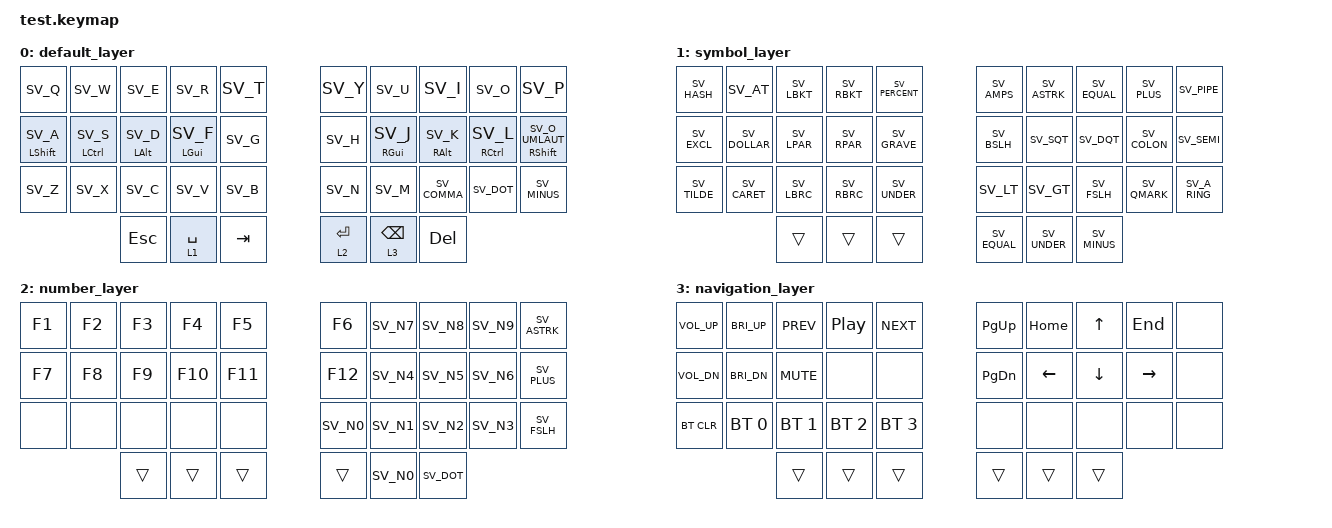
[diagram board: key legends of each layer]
/*
 * Skeletyl Keymap - Swedish Developer Edition
 * Optimized for Python, terminal work, and macOS/Linux
 */

#include <behaviors.dtsi>
#include <dt-bindings/zmk/keys.h>
#include <dt-bindings/zmk/bt.h>
#include "../../../config/keys_sv.h"

/ {
    behaviors {
        // Home row mods - optimized timing for typing comfort
        hm: homerow_mods {
            compatible = "zmk,behavior-hold-tap";
            #binding-cells = <2>;
            tapping-term-ms = <200>;
            quick-tap-ms = <150>;
            require-prior-idle-ms = <125>;
            flavor = "balanced";
            bindings = <&kp>, <&kp>;
        };
    };

    keymap {
        compatible = "zmk,keymap";

        // Layer 0: Base QWERTY with Home Row Mods
        default_layer {
            bindings = <
                &kp SV_Q         &kp SV_W        &kp SV_E        &kp SV_R        &kp SV_T            &kp SV_Y        &kp SV_U        &kp SV_I        &kp SV_O        &kp SV_P
                &hm LSHFT SV_A   &hm LCTRL SV_S  &hm LALT SV_D   &hm LGUI SV_F   &kp SV_G            &kp SV_H        &hm RGUI SV_J   &hm RALT SV_K   &hm RCTRL SV_L  &hm RSHFT SV_O_UMLAUT
                &kp SV_Z         &kp SV_X        &kp SV_C        &kp SV_V        &kp SV_B            &kp SV_N        &kp SV_M        &kp SV_COMMA    &kp SV_DOT      &kp SV_MINUS
                                                 &kp ESC         &lt 1 SPACE     &kp TAB             &lt 2 RET       &lt 3 BSPC      &kp DEL
            >;
        };

        // Layer 1: Symbol Layer (Programming Focus)
        symbol_layer {
            bindings = <
                &kp SV_HASH      &kp SV_AT       &kp SV_LBKT     &kp SV_RBKT     &kp SV_PERCENT      &kp SV_AMPS     &kp SV_ASTRK    &kp SV_EQUAL    &kp SV_PLUS     &kp SV_PIPE
                &kp SV_EXCL      &kp SV_DOLLAR   &kp SV_LPAR     &kp SV_RPAR     &kp SV_GRAVE        &kp SV_BSLH     &kp SV_SQT      &kp SV_DQT      &kp SV_COLON    &kp SV_SEMI
                &kp SV_TILDE     &kp SV_CARET    &kp SV_LBRC     &kp SV_RBRC     &kp SV_UNDER        &kp SV_LT       &kp SV_GT       &kp SV_FSLH     &kp SV_QMARK    &kp SV_A_RING
                                                 &trans          &trans          &trans              &kp SV_EQUAL    &kp SV_UNDER    &kp SV_MINUS
            >;
        };

        // Layer 2: Number + Function Layer
        number_layer {
            bindings = <
                &kp F1           &kp F2          &kp F3          &kp F4          &kp F5              &kp F6          &kp SV_N7       &kp SV_N8       &kp SV_N9       &kp SV_ASTRK
                &kp F7           &kp F8          &kp F9          &kp F10         &kp F11             &kp F12         &kp SV_N4       &kp SV_N5       &kp SV_N6       &kp SV_PLUS
                &none            &none           &none           &none           &none               &kp SV_N0       &kp SV_N1       &kp SV_N2       &kp SV_N3       &kp SV_FSLH
                                                 &trans          &trans          &trans              &trans          &kp SV_N0       &kp SV_DOT
            >;
        };

        // Layer 3: Navigation + System Layer
        navigation_layer {
            bindings = <
                &kp C_VOL_UP     &kp C_BRI_UP    &kp C_PREV      &kp C_PP        &kp C_NEXT          &kp PG_UP       &kp HOME        &kp UP          &kp END         &none
                &kp C_VOL_DN     &kp C_BRI_DN    &kp C_MUTE      &none           &none               &kp PG_DN       &kp LEFT        &kp DOWN        &kp RIGHT       &none
                &bt BT_CLR       &bt BT_SEL 0    &bt BT_SEL 1    &bt BT_SEL 2    &bt BT_SEL 3        &none           &none           &none           &none           &none
                                                 &trans          &trans          &trans              &trans          &trans          &trans
            >;
        };
    };
};





Skeletyl Swedish Developer Keymap
Overview
Creating a 36-key keymap for boards/shields/skeletyl/skeletyl.keymap tailored for Python and terminal work, using Swedish key definitions from config/keys_sv.h.

Layer Structure
Hold Left Thumb 1
Hold Right Thumb 1
Hold Right Thumb 2
Base Layer: QWERTY + Home Row Mods
Symbol Layer: Programming Symbols
Number Layer: Numpad + Function Keys
Navigation Layer: Vim + System
Layer Breakdown
Layer 0: Base (QWERTY with Home Row Mods)
Top row: Q W E R T | Y U I O P
Home row: A(Shift) S(Ctrl) D(Alt) F(GUI) G | H J(GUI) K(Alt) L(Ctrl) Ö(Shift)
Bottom row: Z X C V B | N M , . -
Thumbs: ESC, SPACE(tap)/SYM(hold), TAB | ENTER(tap)/NUM(hold), BSPC(tap)/NAV(hold), DEL
Home row mods activate when held, type letters when tapped

Layer 1: Symbol Layer (Python/Programming Focus)
Optimized for Python, shell scripts, and common programming symbols:

Left hand: Swedish brackets/braces [{ }], parens (), pipe |, backslash `\`
Right hand: Comparison ops < > =, quotes ' ", operators + - * /
Strategic placement: 
Brackets on left index/middle fingers (frequent in Python)
Underscores accessible (Python naming)
Swedish-specific symbols using SV_ definitions
Layer 2: Number + Function Layer
Right hand numpad (indices/middle fingers):
7 8 9
4 5 6
1 2 3
    0
Left hand: F1-F10 function keys for terminal shortcuts
Extras: Mathematical operators adjacent to numpad
Layer 3: Navigation Layer
Right hand home row: Vim-style H(left) J(down) K(up) L(right)
Additional nav: Home, End, PgUp, PgDn
Media/System: Volume, brightness, media controls
Utility: Screenshot keys, window management helpers
Implementation Details
Include Swedish keys: Add #include "../../../config/keys_sv.h" to access SV_ definitions
Configure behaviors: Set up home row mod timing (tapping-term, quick-tap-ms)
Use SV_ macros: All symbols use Swedish layout (e.g., &kp SV_LBKT for [)
Layer-tap combos: 
Space = tap space, hold for Symbol layer
Enter = tap enter, hold for Number layer
Backspace = tap backspace, hold for Nav layer
Key Programming Symbols Covered
Brackets: [], {}, ()
Operators: +-*/=<>
Python essentials: _ (underscore), : (colon), ->, **
Shell: |, &, $, ~, `` ` ``
Strings: ', "
Comments: #
Files Modified
boards/shields/skeletyl/skeletyl.keymap - Complete rewrite with 4 layers
Testing Recommendations
After implementation, test:

Home row mod timing (adjust tapping-term if needed)
Swedish symbol output matches OS expectations
Layer switching feels natural for your workflow
Common Python patterns (def, class, f-strings, list comprehensions)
